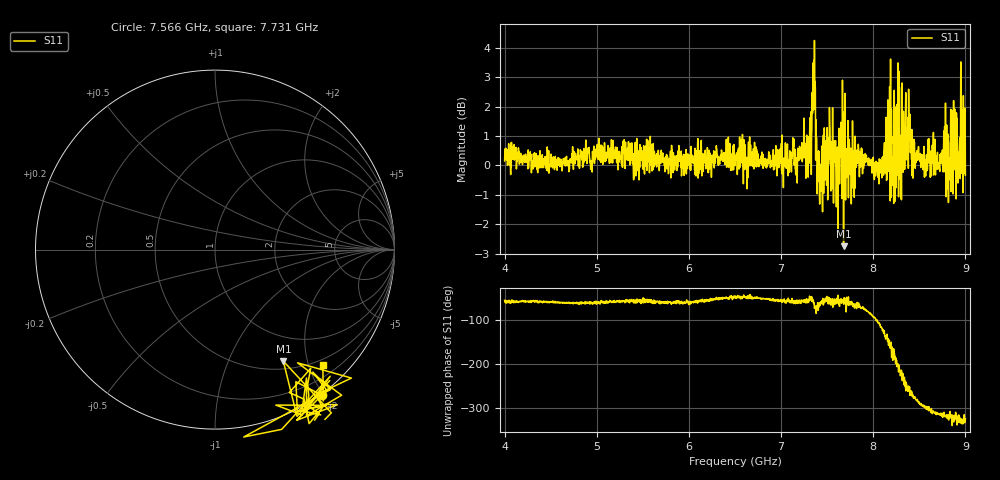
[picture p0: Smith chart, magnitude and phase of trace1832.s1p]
! Created with skrf 1.8.0 (http://scikit-rf.org).
# Hz S RI R 50.0
!freq ReS11 ImS11
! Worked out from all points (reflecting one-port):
!   1601 points, 4 GHz to 9 GHz, reference 50 ohm
!   lowest |S11| = -2.7 dB at 7.678 GHz (marker M1), VSWR 6.37, Z = 30.5 - j80.7 ohm
!   phase of S11 starts at -55 deg and turns -270 deg over the sweep
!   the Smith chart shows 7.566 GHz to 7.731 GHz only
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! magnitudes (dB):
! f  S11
! 4 GHz  0.2
! 4.625 GHz  -0.2
! 5.25 GHz  0.3
! 5.875 GHz  0.3
! 6.5 GHz  0.0
! 7.125 GHz  0.4
! 7.294 GHz  -0.4
! 7.316 GHz  0.3
! 7.347 GHz  3.5
! 7.362 GHz  4.3
! 7.412 GHz  0.5
! 7.509 GHz  -0.4
! 7.591 GHz  0.8
! 7.65 GHz  1.5
! 7.678 GHz  -2.7
! 7.75 GHz  -0.3
! 8.038 GHz  -0.1
! 8.178 GHz  2.7
! 8.228 GHz  2.6
! 8.262 GHz  -0.3
! 8.316 GHz  1.0
! 8.334 GHz  0.9
! 8.375 GHz  1.5
! 8.438 GHz  0.4
! 8.556 GHz  -0.4
! 8.841 GHz  1.9
! 8.972 GHz  0.7
! 9 GHz  -0.3
